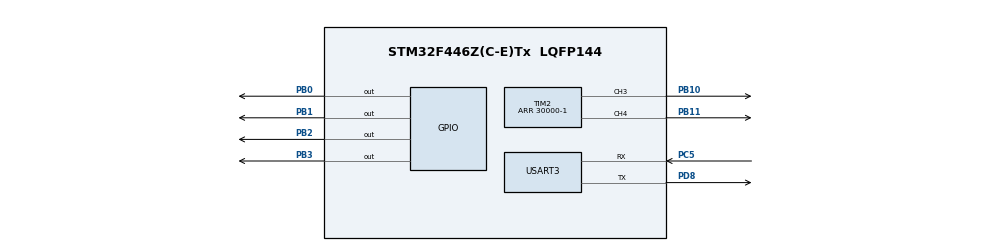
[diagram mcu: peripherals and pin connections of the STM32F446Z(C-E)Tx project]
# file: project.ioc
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Mcu.Family=STM32F4
Mcu.Name=STM32F446Z(C-E)Tx
Mcu.Package=LQFP144
NVIC.PriorityGroup=NVIC_PRIORITYGROUP_4
PB0.Signal=GPIO_Output
PB1.Signal=GPIO_Output
PB10.Signal=S_TIM2_CH3
PB11.Signal=S_TIM2_CH4
PB2.Signal=GPIO_Output
PB3.Signal=GPIO_Output
PC5.Mode=Asynchronous
PC5.Signal=USART3_RX
PD8.Mode=Asynchronous
PD8.Signal=USART3_TX
ProjectManager.HeapSize=0x200
ProjectManager.StackSize=0x400
ProjectManager.TargetToolchain=MDK-ARM V5
RCC.CortexFreq_Value=16000000
RCC.USBFreq_Value=96000000
RCC.VCOOutputFreq_Value=192000000
SH.S_TIM2_CH3.0=TIM2_CH3,PWM Generation3 CH3
SH.S_TIM2_CH4.0=TIM2_CH4,PWM Generation4 CH4
TIM2.Channel-PWM\ Generation3\ CH3=TIM_CHANNEL_3
TIM2.Channel-PWM\ Generation4\ CH4=TIM_CHANNEL_4
TIM2.Period=30000-1
USART3.VirtualMode=VM_ASYNC
board=custom

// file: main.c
/* USER CODE BEGIN Header */
/**
  ******************************************************************************
  * @file           : main.c
  * @brief          : Main program body
  ******************************************************************************
  * @attention
  *
  * Copyright (c) 2025 STMicroelectronics.
  * All rights reserved.
  *
  * This software is licensed under terms that can be found in the LICENSE file
  * in the root directory of this software component.
  * If no LICENSE file comes with this software, it is provided AS-IS.
  *
  ******************************************************************************
  */
/* USER CODE END Header */
#include "main.h"

/* USER CODE BEGIN Includes */
#include "string.h"
#include "stdio.h"
/* USER CODE END Includes */

TIM_HandleTypeDef htim2;

UART_HandleTypeDef huart3;

void SystemClock_Config(void);
static void MX_GPIO_Init(void);
static void MX_TIM2_Init(void);
static void MX_USART3_UART_Init(void);
/* USER CODE BEGIN PFP */

void SetMotorSpeed(uint8_t motor, uint16_t speed);
void Motor_RampCycle(void);	//demo
void forward();
void backward();
void rturn();
void lturn();
void stop();
void emerg_stop();
void print_msg(char * msg){
	HAL_UART_Transmit(&huart3, (uint8_t *)msg, strlen(msg), 100);
}

/* USER CODE END PFP */

int main(void)
{

  /* MCU Configuration--------------------------------------------------------*/

  /* Reset of all peripherals, Initializes the Flash interface and the Systick. */
  HAL_Init();

  /* Configure the system clock */
  SystemClock_Config();

  /* Initialize all configured peripherals */
  MX_GPIO_Init();
  MX_TIM2_Init();
  MX_USART3_UART_Init();
  /* USER CODE BEGIN 2 */
	HAL_TIM_PWM_Start(&htim2, TIM_CHANNEL_3);
  HAL_TIM_PWM_Start(&htim2, TIM_CHANNEL_4);
	print_msg("start\n");
  /* USER CODE END 2 */

  /* Infinite loop */
  /* USER CODE BEGIN WHILE */
  while (1)
  {
    forward();
		HAL_Delay(2000);
		lturn();
		HAL_Delay(2000);
    /* USER CODE END WHILE */

  }
}

void SystemClock_Config(void)
{
  RCC_OscInitTypeDef RCC_OscInitStruct = {0};
  RCC_ClkInitTypeDef RCC_ClkInitStruct = {0};

  /** Configure the main internal regulator output voltage
  */
  __HAL_RCC_PWR_CLK_ENABLE();
  __HAL_PWR_VOLTAGESCALING_CONFIG(PWR_REGULATOR_VOLTAGE_SCALE3);

  /** Initializes the RCC Oscillators according to the specified parameters
  * in the RCC_OscInitTypeDef structure.
  */
  RCC_OscInitStruct.OscillatorType = RCC_OSCILLATORTYPE_HSI;
  RCC_OscInitStruct.HSIState = RCC_HSI_ON;
  RCC_OscInitStruct.HSICalibrationValue = RCC_HSICALIBRATION_DEFAULT;
  RCC_OscInitStruct.PLL.PLLState = RCC_PLL_NONE;
  if (HAL_RCC_OscConfig(&RCC_OscInitStruct) != HAL_OK)
  {
    Error_Handler();
  }

  /** Initializes the CPU, AHB and APB buses clocks
  */
  RCC_ClkInitStruct.ClockType = RCC_CLOCKTYPE_HCLK|RCC_CLOCKTYPE_SYSCLK
                              |RCC_CLOCKTYPE_PCLK1|RCC_CLOCKTYPE_PCLK2;
  RCC_ClkInitStruct.SYSCLKSource = RCC_SYSCLKSOURCE_HSI;
  RCC_ClkInitStruct.AHBCLKDivider = RCC_SYSCLK_DIV1;
  RCC_ClkInitStruct.APB1CLKDivider = RCC_HCLK_DIV1;
  RCC_ClkInitStruct.APB2CLKDivider = RCC_HCLK_DIV1;

  if (HAL_RCC_ClockConfig(&RCC_ClkInitStruct, FLASH_LATENCY_0) != HAL_OK)
  {
    Error_Handler();
  }
}

static void MX_TIM2_Init(void)
{

  TIM_MasterConfigTypeDef sMasterConfig = {0};
  TIM_OC_InitTypeDef sConfigOC = {0};

  htim2.Instance = TIM2;
  htim2.Init.Prescaler = 0;
  htim2.Init.CounterMode = TIM_COUNTERMODE_UP;
  htim2.Init.Period = 30000-1;
  htim2.Init.ClockDivision = TIM_CLOCKDIVISION_DIV1;
  htim2.Init.AutoReloadPreload = TIM_AUTORELOAD_PRELOAD_DISABLE;
  if (HAL_TIM_PWM_Init(&htim2) != HAL_OK)
  {
    Error_Handler();
  }
  sMasterConfig.MasterOutputTrigger = TIM_TRGO_RESET;
  sMasterConfig.MasterSlaveMode = TIM_MASTERSLAVEMODE_DISABLE;
  if (HAL_TIMEx_MasterConfigSynchronization(&htim2, &sMasterConfig) != HAL_OK)
  {
    Error_Handler();
  }
  sConfigOC.OCMode = TIM_OCMODE_PWM1;
  sConfigOC.Pulse = 0;
  sConfigOC.OCPolarity = TIM_OCPOLARITY_HIGH;
  sConfigOC.OCFastMode = TIM_OCFAST_DISABLE;
  if (HAL_TIM_PWM_ConfigChannel(&htim2, &sConfigOC, TIM_CHANNEL_3) != HAL_OK)
  {
    Error_Handler();
  }
  if (HAL_TIM_PWM_ConfigChannel(&htim2, &sConfigOC, TIM_CHANNEL_4) != HAL_OK)
  {
    Error_Handler();
  }
  HAL_TIM_MspPostInit(&htim2);

}

static void MX_USART3_UART_Init(void)
{

  huart3.Instance = USART3;
  huart3.Init.BaudRate = 115200;
  huart3.Init.WordLength = UART_WORDLENGTH_8B;
  huart3.Init.StopBits = UART_STOPBITS_1;
  huart3.Init.Parity = UART_PARITY_NONE;
  huart3.Init.Mode = UART_MODE_TX_RX;
  huart3.Init.HwFlowCtl = UART_HWCONTROL_NONE;
  huart3.Init.OverSampling = UART_OVERSAMPLING_16;
  if (HAL_UART_Init(&huart3) != HAL_OK)
  {
    Error_Handler();
  }

}

static void MX_GPIO_Init(void)
{
  GPIO_InitTypeDef GPIO_InitStruct = {0};

  /* GPIO Ports Clock Enable */
  __HAL_RCC_GPIOC_CLK_ENABLE();
  __HAL_RCC_GPIOB_CLK_ENABLE();
  __HAL_RCC_GPIOD_CLK_ENABLE();

  /*Configure GPIO pin Output Level */
  HAL_GPIO_WritePin(GPIOB, GPIO_PIN_0|GPIO_PIN_1|GPIO_PIN_2|GPIO_PIN_3, GPIO_PIN_RESET);

  /*Configure GPIO pins : PB0 PB1 PB2 PB3 */
  GPIO_InitStruct.Pin = GPIO_PIN_0|GPIO_PIN_1|GPIO_PIN_2|GPIO_PIN_3;
  GPIO_InitStruct.Mode = GPIO_MODE_OUTPUT_PP;
  GPIO_InitStruct.Pull = GPIO_NOPULL;
  GPIO_InitStruct.Speed = GPIO_SPEED_FREQ_LOW;
  HAL_GPIO_Init(GPIOB, &GPIO_InitStruct);

}

/* USER CODE BEGIN 4 */

// set motor speed using PWM
void SetMotorSpeed(uint8_t motor, uint16_t speed) {
  // Speed is assumed to be a value between 0 and 1000 (for 0% to 100% PWM)
  if (motor == 1) {
    __HAL_TIM_SET_COMPARE(&htim2, TIM_CHANNEL_3, speed);
  } else if (motor == 2) {
    __HAL_TIM_SET_COMPARE(&htim2, TIM_CHANNEL_4, speed);
  }
}

// motor ramp up and down demo
void Motor_RampCycle(void) {
	// Set direction: Forward for both motors
  HAL_GPIO_WritePin(GPIOB, GPIO_PIN_0, GPIO_PIN_SET);   // IN1 = 1
  HAL_GPIO_WritePin(GPIOB, GPIO_PIN_1, GPIO_PIN_RESET); // IN2 = 0
  HAL_GPIO_WritePin(GPIOB, GPIO_PIN_2, GPIO_PIN_SET);   // IN3 = 1
  HAL_GPIO_WritePin(GPIOB, GPIO_PIN_3, GPIO_PIN_RESET); // IN4 = 0

  // Ramp up both motors to 100% duty cycle
  for (uint16_t speed = 0; speed <= 9999; speed += 100) {
    SetMotorSpeed(1, speed);
    SetMotorSpeed(2, speed);
    HAL_Delay(20); // Acceleration
  }

  HAL_Delay(5000); // Hold max speed for a while

  // Ramp down both motors to 0%
  for (uint16_t speed = 9999; speed > 0; speed -= 100) {
    SetMotorSpeed(1, speed);
    SetMotorSpeed(2, speed);
    HAL_Delay(20); // Deceleration
  }

  HAL_Delay(5000); // Pause before repeating
}

float GetMotorSpeed(uint8_t motor){
	uint32_t currentSpeed = 0;
	uint32_t maxSpeed = htim2.Instance->ARR; 		// get max speed value ARR

	if (motor == 1){
		currentSpeed = __HAL_TIM_GET_COMPARE(&htim2, TIM_CHANNEL_3);	// get current speed value
	}
	else if (motor == 2){
		currentSpeed = __HAL_TIM_GET_COMPARE(&htim2, TIM_CHANNEL_4);	// get current speed value
	}
	else return -1;

	float speedRatio = (float)currentSpeed / (float)maxSpeed * 100.0;				// calculate current speed ratio
	return speedRatio;		// out of 100%
}

// vehicle going forward
void forward(void){
	// Set direction: Forward for both motors
  HAL_GPIO_WritePin(GPIOB, GPIO_PIN_0, GPIO_PIN_SET);   // IN1 = 1
  HAL_GPIO_WritePin(GPIOB, GPIO_PIN_1, GPIO_PIN_RESET); // IN2 = 0
  HAL_GPIO_WritePin(GPIOB, GPIO_PIN_2, GPIO_PIN_SET);   // IN3 = 1
  HAL_GPIO_WritePin(GPIOB, GPIO_PIN_3, GPIO_PIN_RESET); // IN4 = 0

  // Ramp up both motors to 100% duty cycle
  for (uint16_t speed = 0; speed <= 9999; speed += 100) {
		int a = GetMotorSpeed(1);
		char DBG[20];
		sprintf(DBG, " ideal Speed: %d\n", a);
		print_msg(DBG);
    SetMotorSpeed(1, speed);
		a = GetMotorSpeed(1);
		sprintf(DBG, " actual Speed: %d\n", a);
		print_msg(DBG);
    SetMotorSpeed(2, speed);
    HAL_Delay(20); // Smooth acceleration
  }
}

void lturn(void){

	// need to implement code related to current speed
	// current code need to be improved
	// only simple judging criteria for full speed or stop

	//if (currentSpeed1 >= 50 && currentSpeed2 >= 50){
		// right motor decelerate
		for (uint16_t speed = 9999; speed > 0; speed -= 100) {
			SetMotorSpeed(1, speed);
			HAL_Delay(20); // Deceleration
		}
		SetMotorSpeed(2, 9999);

		//SetMotorSpeed(1, 0);
	//}
	/*else if (currentSpeed2 <= 50 && currentSpeed2 <= 50){
		// left motor accelerate
		for (uint16_t speed = 0; speed <= 999; speed += 10) {
			SetMotorSpeed(1, speed);
			HAL_Delay(20); // Acceleration
		}
	}
	*/
}

/* USER CODE END 4 */

void Error_Handler(void)
{
  __disable_irq();
  while (1)
  {
  }
}
